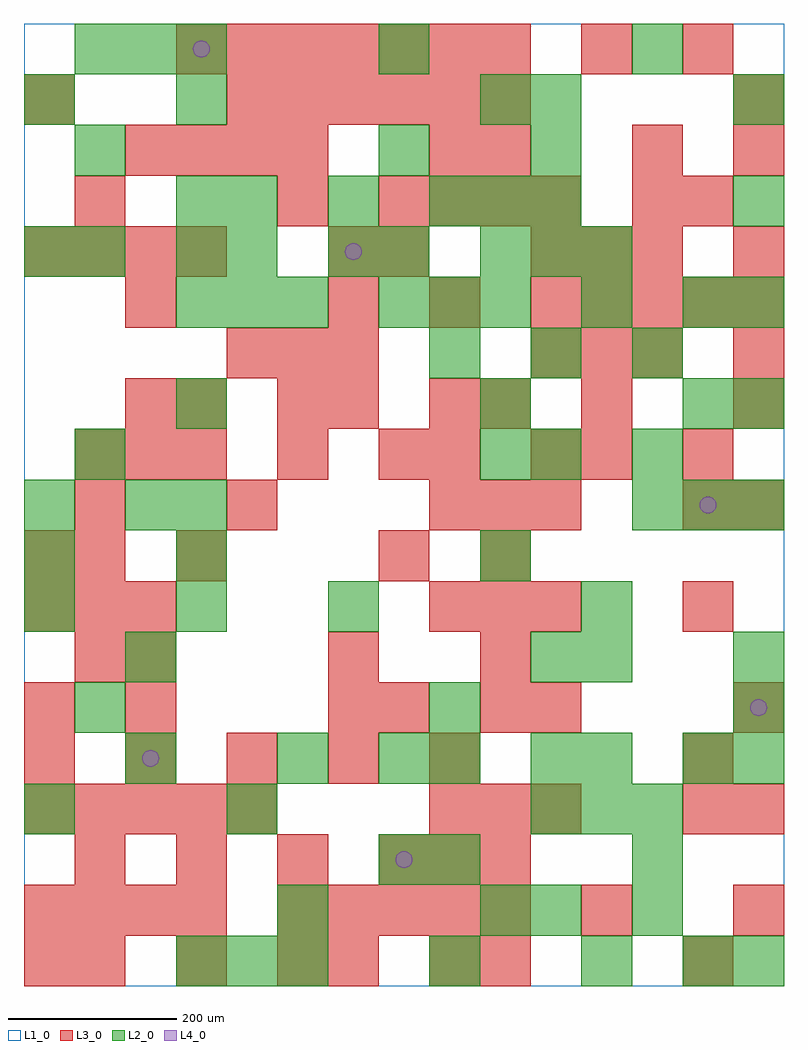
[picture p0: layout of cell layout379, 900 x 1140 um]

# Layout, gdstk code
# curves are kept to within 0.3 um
import gdstk
lib = gdstk.Library(unit=1e-6, precision=1e-09)
def R(c, l, rs):  # rectangles x0, y0, x1, y1
    for r in rs: c.add(gdstk.rectangle(r[:2], r[2:], *l))
def A(c, l, x, y, w, h, nx, ny, dx, dy):  # array of equal rectangles
    R(c, l, [(x+i*dx, y+j*dy, x+i*dx+w, y+j*dy+h) for i in range(nx) for j in range(ny)])
def P(c, l, *ps):  # polygons
    for p in ps: c.add(gdstk.Polygon(p, *l))
L1_0 = (1, 0)
L2_0 = (2, 0)
L3_0 = (3, 0)
L4_0 = (4, 0)

layout379 = lib.new_cell('layout379')
R(layout379, L1_0, [(0,0,900,1140)])
A(layout379, L2_0, 180, 0, 60, 60, 3, 2, 60, 780)
A(layout379, L2_0, 480, 0, 60, 60, 1, 3, 0, 120)
A(layout379, L2_0, 720, 120, 60, 60, 1, 3, 0, 480)
A(layout379, L2_0, 600, 180, 60, 60, 3, 1, 60, 0)
A(layout379, L2_0, 840, 240, 60, 60, 1, 3, 0, 60)
A(layout379, L2_0, 0, 420, 60, 60, 3, 1, 180, 0)
A(layout379, L2_0, 720, 540, 60, 60, 3, 1, 60, 0)
A(layout379, L2_0, 840, 660, 60, 60, 1, 4, 0, 120)
A(layout379, L2_0, 480, 720, 60, 60, 3, 1, 120, 0)
A(layout379, L2_0, 420, 780, 60, 60, 3, 1, 60, 0)
A(layout379, L2_0, 420, 840, 60, 60, 1, 3, 0, 120)
A(layout379, L2_0, 540, 840, 60, 60, 3, 1, 60, 0)
A(layout379, L2_0, 240, 900, 60, 60, 3, 1, 120, 0)
A(layout379, L2_0, 600, 900, 60, 60, 1, 3, 0, 60)
A(layout379, L2_0, 60, 1080, 60, 60, 3, 1, 60, 0)
R(layout379, L2_0, [(660,0,720,60), (780,0,840,60), (840,0,900,60), (300,60,360,120), (540,60,600,120), (600,60,660,120), (720,60,780,120), (420,120,480,180), (0,180,60,240), (240,180,300,240), (120,240,180,300), (300,240,360,300), (420,240,480,300), (600,240,660,300), (660,240,720,300), (780,240,840,300), (60,300,120,360), (480,300,540,360), (120,360,180,420), (600,360,660,420), (660,360,720,420), (660,420,720,480), (0,480,60,540), (180,480,240,540), (540,480,600,540), (0,540,60,600), (120,540,180,600), (180,540,240,600), (60,600,120,660), (540,600,600,660), (600,600,660,660), (180,660,240,720), (540,660,600,720), (780,660,840,720), (660,780,720,840), (780,780,840,840), (0,840,60,900), (60,840,120,900), (180,840,240,900), (240,840,300,900), (360,840,420,900), (180,900,240,960), (540,900,600,960), (60,960,120,1020), (0,1020,60,1080), (180,1020,240,1080), (540,1020,600,1080)])
A(layout379, L3_0, 60, 0, 60, 60, 3, 1, 120, 0)
A(layout379, L3_0, 0, 60, 60, 60, 4, 2, 60, 780)
A(layout379, L3_0, 300, 60, 60, 60, 5, 1, 60, 0)
A(layout379, L3_0, 840, 60, 60, 60, 1, 3, 0, 120)
A(layout379, L3_0, 60, 120, 60, 60, 4, 1, 120, 0)
A(layout379, L3_0, 0, 180, 60, 60, 5, 1, 60, 0)
A(layout379, L3_0, 480, 180, 60, 60, 3, 2, 60, 240)
A(layout379, L3_0, 0, 240, 60, 60, 5, 1, 120, 0)
A(layout379, L3_0, 0, 420, 60, 60, 3, 1, 60, 0)
A(layout379, L3_0, 480, 540, 60, 60, 3, 1, 60, 0)
A(layout379, L3_0, 60, 600, 60, 60, 3, 1, 60, 0)
A(layout379, L3_0, 240, 720, 60, 60, 3, 1, 60, 0)
A(layout379, L3_0, 600, 720, 60, 60, 3, 2, 60, 120)
A(layout379, L3_0, 840, 720, 60, 60, 1, 3, 0, 120)
A(layout379, L3_0, 360, 780, 60, 60, 3, 1, 120, 0)
A(layout379, L3_0, 660, 780, 60, 60, 4, 1, 60, 0)
A(layout379, L3_0, 420, 900, 60, 60, 4, 1, 60, 0)
A(layout379, L3_0, 120, 960, 60, 60, 4, 1, 60, 0)
A(layout379, L3_0, 240, 1020, 60, 60, 6, 1, 60, 0)
A(layout379, L3_0, 180, 1080, 60, 60, 7, 1, 60, 0)
R(layout379, L3_0, [(0,0,60,60), (360,0,420,60), (480,0,540,60), (540,0,600,60), (780,0,840,60), (660,60,720,120), (480,120,540,180), (540,120,600,180), (780,180,840,240), (780,240,840,300), (0,300,60,360), (120,300,180,360), (360,300,420,360), (420,300,480,360), (540,300,600,360), (600,300,660,360), (60,360,120,420), (120,360,180,420), (360,360,420,420), (540,360,600,420), (780,420,840,480), (0,480,60,540), (60,480,120,540), (180,480,240,540), (420,480,480,540), (540,480,600,540), (60,540,120,600), (240,540,300,600), (780,540,840,600), (840,540,900,600), (300,600,360,660), (420,600,480,660), (480,600,540,660), (600,600,660,660), (660,600,720,660), (780,600,840,660), (120,660,180,720), (180,660,240,720), (300,660,360,720), (360,660,420,720), (480,660,540,720), (540,660,600,720), (660,660,720,720), (840,660,900,720), (120,780,180,840), (360,840,420,900), (420,840,480,900), (60,900,120,960), (300,900,360,960), (720,900,780,960), (780,900,840,960), (480,960,540,1020), (540,960,600,1020), (720,960,780,1020), (0,1020,60,1080), (840,1020,900,1080), (660,1080,720,1140), (780,1080,840,1140)])
P(layout379, L4_0, [(160,270),(159.239,273.827),(157.071,277.071),(153.827,279.239),(150,280),(146.173,279.239),(142.929,277.071),(140.761,273.827),(140,270),(140.761,266.173),(142.929,262.929),(146.173,260.761),(150,260),(153.827,260.761),(157.071,262.929),(159.239,266.173)],
  [(220,1110),(219.239,1113.827),(217.071,1117.071),(213.827,1119.239),(210,1120),(206.173,1119.239),(202.929,1117.071),(200.761,1113.827),(200,1110),(200.761,1106.173),(202.929,1102.929),(206.173,1100.761),(210,1100),(213.827,1100.761),(217.071,1102.929),(219.239,1106.173)],
  [(400,870),(399.239,873.827),(397.071,877.071),(393.827,879.239),(390,880),(386.173,879.239),(382.929,877.071),(380.761,873.827),(380,870),(380.761,866.173),(382.929,862.929),(386.173,860.761),(390,860),(393.827,860.761),(397.071,862.929),(399.239,866.173)],
  [(460,150),(459.239,153.827),(457.071,157.071),(453.827,159.239),(450,160),(446.173,159.239),(442.929,157.071),(440.761,153.827),(440,150),(440.761,146.173),(442.929,142.929),(446.173,140.761),(450,140),(453.827,140.761),(457.071,142.929),(459.239,146.173)],
  [(820,570),(819.239,573.827),(817.071,577.071),(813.827,579.239),(810,580),(806.173,579.239),(802.929,577.071),(800.761,573.827),(800,570),(800.761,566.173),(802.929,562.929),(806.173,560.761),(810,560),(813.827,560.761),(817.071,562.929),(819.239,566.173)],
  [(880,330),(879.239,333.827),(877.071,337.071),(873.827,339.239),(870,340),(866.173,339.239),(862.929,337.071),(860.761,333.827),(860,330),(860.761,326.173),(862.929,322.929),(866.173,320.761),(870,320),(873.827,320.761),(877.071,322.929),(879.239,326.173)])

lib.write_gds('layout379.gds')
